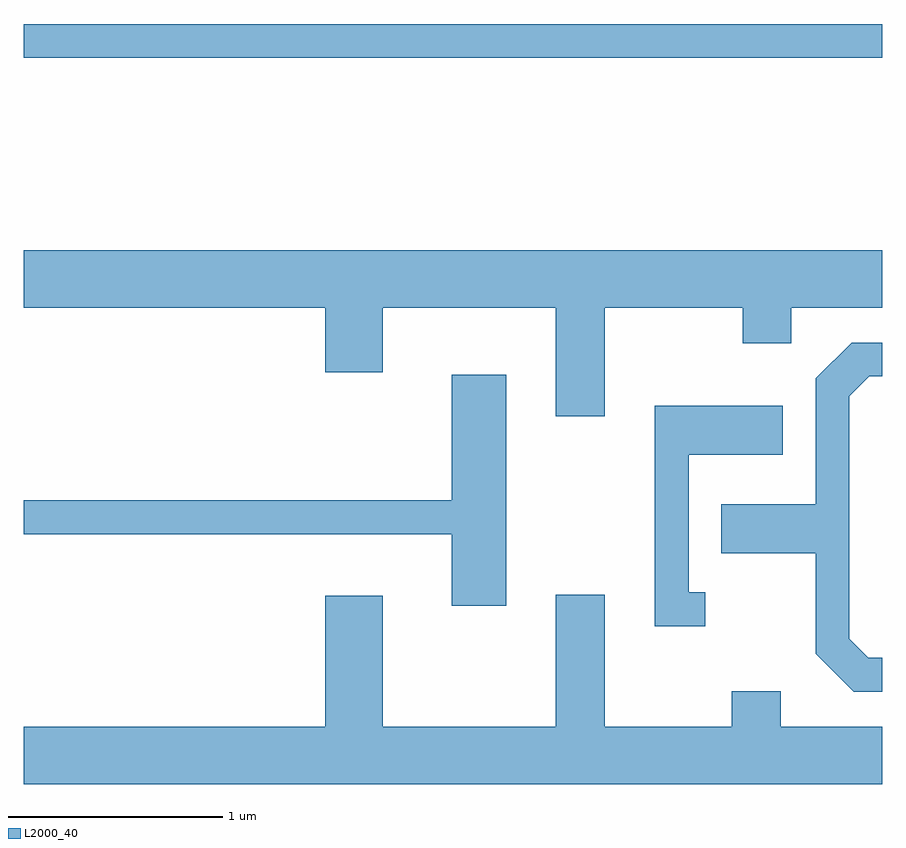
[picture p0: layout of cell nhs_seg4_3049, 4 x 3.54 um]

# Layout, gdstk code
import gdstk
lib = gdstk.Library(unit=1e-6, precision=1e-09)
def R(c, l, rs):  # rectangles x0, y0, x1, y1
    for r in rs: c.add(gdstk.rectangle(r[:2], r[2:], *l))
def P(c, l, *ps):  # polygons
    for p in ps: c.add(gdstk.Polygon(p, *l))
L2000_40 = (2000, 40)

nhs_seg4_3049 = lib.new_cell('nhs_seg4_3049')
R(nhs_seg4_3049, L2000_40, [(273.611,1371.381,277.611,1371.539)])
P(nhs_seg4_3049, L2000_40, [(276.319,1370.216),(276.961,1370.216),(276.961,1370.051),(277.189,1370.051),(277.189,1370.216),(277.611,1370.216),(277.611,1370.484),(273.611,1370.484),(273.611,1370.216),(275.016,1370.216),(275.016,1369.916),(275.284,1369.916),(275.284,1370.216),(276.091,1370.216),(276.091,1369.711),(276.319,1369.711)],
  [(277.611,1368.584),(277.547,1368.584),(277.459,1368.672),(277.459,1369.804),(277.552,1369.896),(277.611,1369.896),(277.611,1370.054),(277.469,1370.054),(277.301,1369.887),(277.301,1369.299),(276.861,1369.299),(276.861,1369.071),(277.301,1369.071),(277.301,1368.604),(277.479,1368.426),(277.611,1368.426)],
  [(275.859,1369.904),(275.606,1369.904),(275.606,1369.319),(273.611,1369.319),(273.611,1369.161),(275.606,1369.161),(275.606,1368.826),(275.859,1368.826)],
  [(276.788,1368.889),(276.709,1368.889),(276.709,1369.531),(277.149,1369.531),(277.149,1369.759),(276.551,1369.759),(276.551,1368.731),(276.788,1368.731)],
  [(277.611,1368.264),(277.139,1368.264),(277.139,1368.429),(276.911,1368.429),(276.911,1368.264),(276.319,1368.264),(276.319,1368.879),(276.091,1368.879),(276.091,1368.264),(275.284,1368.264),(275.284,1368.874),(275.016,1368.874),(275.016,1368.264),(273.611,1368.264),(273.611,1367.996),(277.611,1367.996)])

lib.write_gds('nhs_seg4_3049.gds')
